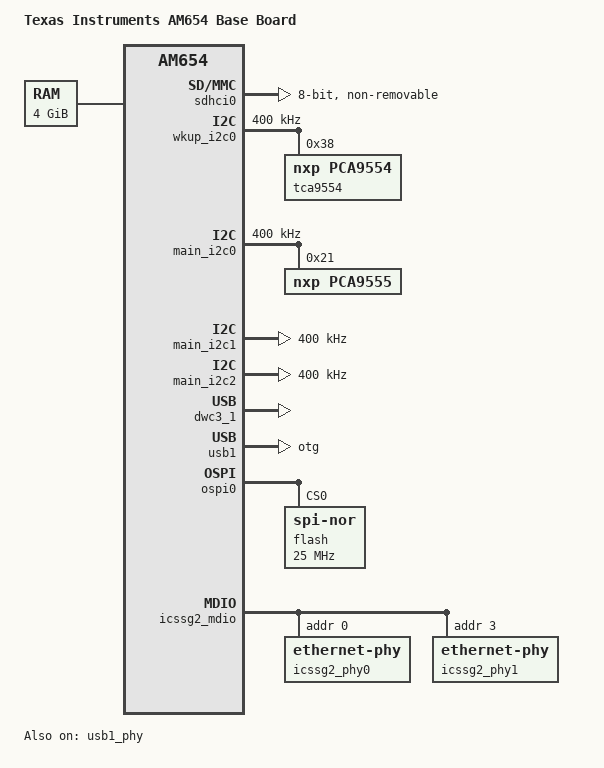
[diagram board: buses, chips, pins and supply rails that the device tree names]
// SPDX-License-Identifier: GPL-2.0
/*
 * Copyright (C) 2016-2018 Texas Instruments Incorporated - http://www.ti.com/
 */

/dts-v1/;

#include "k3-am654.dtsi"
#include <dt-bindings/pinctrl/k3.h>
#include <dt-bindings/net/ti-dp83867.h>

/ {
	compatible =  "ti,am654-evm", "ti,am654";
	model = "Texas Instruments AM654 Base Board";

	chosen {
		stdout-path = "serial2:115200n8";
		bootargs = "earlycon=ns16550a,mmio32,0x02800000";
	};

	aliases {
		remoteproc0 = &mcu_r5fss0_core0;
		remoteproc1 = &mcu_r5fss0_core1;
	};

	memory@80000000 {
		device_type = "memory";
		/* 4G RAM */
		reg = <0x00000000 0x80000000 0x00000000 0x80000000>,
		      <0x00000008 0x80000000 0x00000000 0x80000000>;
	};

	reserved-memory {
		#address-cells = <2>;
		#size-cells = <2>;
		ranges;
		secure_ddr: secure_ddr@9e800000 {
			reg = <0 0x9e800000 0 0x01800000>; /* for OP-TEE */
			alignment = <0x1000>;
			no-map;
		};
	};

	/* Dual Ethernet application node on PRU-ICSSG2 */
	icssg2_eth: icssg2-eth {
		compatible = "ti,am654-icssg-prueth";
		pinctrl-names = "default";
		pinctrl-0 = <&icssg2_rgmii_pins_default>;
		sram = <&msmc_ram>;
		ti,prus = <&pru2_0>, <&rtu2_0>, <&tx_pru2_0>,
			<&pru2_1>, <&rtu2_1>, <&tx_pru2_1>;
		firmware-name = "ti-pruss/am65x-sr2-pru0-prueth-fw.elf",
				"ti-pruss/am65x-sr2-rtu0-prueth-fw.elf",
				"ti-pruss/am65x-sr2-txpru0-prueth-fw.elf",
				"ti-pruss/am65x-sr2-pru1-prueth-fw.elf",
				"ti-pruss/am65x-sr2-rtu1-prueth-fw.elf",
				"ti-pruss/am65x-sr2-txpru1-prueth-fw.elf";

		ti,pruss-gp-mux-sel = <2>,      /* MII mode */
				      <2>,
				      <2>,
				      <2>,	/* MII mode */
				      <2>,
				      <2>;

		mii-g-rt = <&icssg2_mii_g_rt>;
		mii-rt = <&icssg2_mii_rt>;
		iep = <&icssg2_iep0>,  <&icssg2_iep1>;

		interrupt-parent = <&icssg2_intc>;
		interrupts = <24 0 2>, <25 1 3>;
		interrupt-names = "tx_ts0", "tx_ts1";

		dmas = <&main_udmap 0xc300>, /* egress slice 0 */
		       <&main_udmap 0xc301>, /* egress slice 0 */
		       <&main_udmap 0xc302>, /* egress slice 0 */
		       <&main_udmap 0xc303>, /* egress slice 0 */
		       <&main_udmap 0xc304>, /* egress slice 1 */
		       <&main_udmap 0xc305>, /* egress slice 1 */
		       <&main_udmap 0xc306>, /* egress slice 1 */
		       <&main_udmap 0xc307>, /* egress slice 1 */

		       <&main_udmap 0x4300>, /* ingress slice 0 */
		       <&main_udmap 0x4301>, /* ingress slice 1 */
		       <&main_udmap 0x4302>, /* mgmnt rsp slice 0 */
		       <&main_udmap 0x4303>; /* mgmnt rsp slice 1 */
		dma-names = "tx0-0", "tx0-1", "tx0-2", "tx0-3",
			    "tx1-0", "tx1-1", "tx1-2", "tx1-3",
			    "rx0", "rx1",
			    "rxmgm0", "rxmgm1";

		icssg2_emac0: ethernet-mii0 {
			phy-handle = <&icssg2_phy0>;
			phy-mode = "rgmii-rxid";
			syscon-rgmii-delay = <&scm_conf 0x4120>;
			/* Filled in by bootloader */
			local-mac-address = [00 00 00 00 00 00];
		};

		icssg2_emac1: ethernet-mii1 {
			phy-handle = <&icssg2_phy1>;
			phy-mode = "rgmii-rxid";
			syscon-rgmii-delay = <&scm_conf 0x4124>;
			/* Filled in by bootloader */
			local-mac-address = [00 00 00 00 00 00];
		};
	};
};

&main_pmx0 {
	main_mmc0_pins_default: main_mmc0_pins_default {
		pinctrl-single,pins = <
			AM65X_IOPAD(0x01a8, PIN_INPUT_PULLDOWN, 0)	/* (B25) MMC0_CLK */
			AM65X_IOPAD(0x01aC, PIN_INPUT_PULLUP, 0)	/* (B27) MMC0_CMD */
			AM65X_IOPAD(0x01a4, PIN_INPUT_PULLUP, 0)	/* (A26) MMC0_DAT0 */
			AM65X_IOPAD(0x01a0, PIN_INPUT_PULLUP, 0)	/* (E25) MMC0_DAT1 */
			AM65X_IOPAD(0x019c, PIN_INPUT_PULLUP, 0)	/* (C26) MMC0_DAT2 */
			AM65X_IOPAD(0x0198, PIN_INPUT_PULLUP, 0)	/* (A25) MMC0_DAT3 */
			AM65X_IOPAD(0x0194, PIN_INPUT_PULLUP, 0)	/* (E24) MMC0_DAT4 */
			AM65X_IOPAD(0x0190, PIN_INPUT_PULLUP, 0)	/* (A24) MMC0_DAT5 */
			AM65X_IOPAD(0x018c, PIN_INPUT_PULLUP, 0)	/* (B26) MMC0_DAT6 */
			AM65X_IOPAD(0x0188, PIN_INPUT_PULLUP, 0)	/* (D25) MMC0_DAT7 */
			AM65X_IOPAD(0x01b4, PIN_INPUT_PULLUP, 0)	/* (A23) MMC0_SDCD */
			AM65X_IOPAD(0x01b0, PIN_INPUT, 0)		/* (C25) MMC0_DS */
		>;
	};

	main_mmc1_pins_default: main_mmc1_pins_default {
		pinctrl-single,pins = <
			AM65X_IOPAD(0x02d4, PIN_INPUT_PULLDOWN, 0)	/* (C27) MMC1_CLK */
			AM65X_IOPAD(0x02d8, PIN_INPUT_PULLUP, 0)	/* (C28) MMC1_CMD */
			AM65X_IOPAD(0x02d0, PIN_INPUT_PULLUP, 0)	/* (D28) MMC1_DAT0 */
			AM65X_IOPAD(0x02cc, PIN_INPUT_PULLUP, 0)	/* (E27) MMC1_DAT1 */
			AM65X_IOPAD(0x02c8, PIN_INPUT_PULLUP, 0)	/* (D26) MMC1_DAT2 */
			AM65X_IOPAD(0x02c4, PIN_INPUT_PULLUP, 0)	/* (D27) MMC1_DAT3 */
			AM65X_IOPAD(0x02dc, PIN_INPUT_PULLUP, 0)	/* (B24) MMC1_SDCD */
			AM65X_IOPAD(0x02e0, PIN_INPUT, 0)		/* (C24) MMC1_SDWP */
		>;
	};

	usb1_pins_default: usb1_pins_default {
		pinctrl-single,pins = <
			AM65X_IOPAD(0x02c0, PIN_OUTPUT, 0) /* (AC8) USB1_DRVVBUS */
		>;
	};

	main_i2c2_pins_default: main-i2c2-pins-default {
		pinctrl-single,pins = <
			AM65X_IOPAD(0x0074, PIN_INPUT, 5) /* (T27) GPMC0_CSn3.I2C2_SCL */
			AM65X_IOPAD(0x0070, PIN_INPUT, 5) /* (R25) GPMC0_CSn2.I2C2_SDA */
		>;
	};

	icssg2_mdio_pins_default: icssg2-mdio-pins-default {
		pinctrl-single,pins = <
			AM65X_IOPAD(0x0094, PIN_INPUT, 2) /* (AC19) PRG2_PRU0_GPO7.PRG2_MDIO0_MDIO */
			AM65X_IOPAD(0x00c8, PIN_OUTPUT, 2) /* (AE15) PRG2_PRU1_GPO7.PRG2_MDIO0_MDC */
		>;
	};

	icssg2_rgmii_pins_default: icssg2-rgmii-pins-default {
		pinctrl-single,pins = <
			AM65X_IOPAD(0x00ac, PIN_INPUT, 2) /* (AH15) PRG2_PRU1_GPO0.PRG2_RGMII2_RD0 */
			AM65X_IOPAD(0x00b0, PIN_INPUT, 2) /* (AC16) PRG2_PRU1_GPO1.PRG2_RGMII2_RD1 */
			AM65X_IOPAD(0x00b4, PIN_INPUT, 2) /* (AD17) PRG2_PRU1_GPO2.PRG2_RGMII2_RD2 */
			AM65X_IOPAD(0x00b8, PIN_INPUT, 2) /* (AH14) PRG2_PRU1_GPO3.PRG2_RGMII2_RD3 */
			AM65X_IOPAD(0x00cc, PIN_OUTPUT, 2) /* (AD15) PRG2_PRU1_GPO8.PRG2_RGMII2_TD0 */
			AM65X_IOPAD(0x00d0, PIN_OUTPUT, 2) /* (AF14) PRG2_PRU1_GPO9.PRG2_RGMII2_TD1 */
			AM65X_IOPAD(0x00d4, PIN_OUTPUT, 2) /* (AC15) PRG2_PRU1_GPO10.PRG2_RGMII2_TD2 */
			AM65X_IOPAD(0x00d8, PIN_OUTPUT, 2) /* (AD14) PRG2_PRU1_GPO11.PRG2_RGMII2_TD3 */
			AM65X_IOPAD(0x00dc, PIN_INPUT, 2) /* (AE14) PRG2_PRU1_GPO16.PRG2_RGMII2_TXC */
			AM65X_IOPAD(0x00c4, PIN_OUTPUT, 2) /* (AC17) PRG2_PRU1_GPO6.PRG2_RGMII2_TX_CTL */
			AM65X_IOPAD(0x00c0, PIN_INPUT, 2) /* (AG15) PRG2_PRU1_GPO5.PRG2_RGMII2_RXC */
			AM65X_IOPAD(0x00bc, PIN_INPUT, 2) /* (AG14) PRG2_PRU1_GPO4.PRG2_RGMII2_RX_CTL */

			AM65X_IOPAD(0x0078, PIN_INPUT, 2) /* (AF18) PRG2_PRU0_GPO0.PRG2_RGMII1_RD0 */
			AM65X_IOPAD(0x007c, PIN_INPUT, 2) /* (AE18) PRG2_PRU0_GPO1.PRG2_RGMII1_RD1 */
			AM65X_IOPAD(0x0080, PIN_INPUT, 2) /* (AH17) PRG2_PRU0_GPO2.PRG2_RGMII1_RD2 */
			AM65X_IOPAD(0x0084, PIN_INPUT, 2) /* (AG18) PRG2_PRU0_GPO3.PRG2_RGMII1_RD3 */
			AM65X_IOPAD(0x0098, PIN_OUTPUT, 2) /* (AH16) PRG2_PRU0_GPO8.PRG2_RGMII1_TD0 */
			AM65X_IOPAD(0x009c, PIN_OUTPUT, 2) /* (AG16) PRG2_PRU0_GPO9.PRG2_RGMII1_TD1 */
			AM65X_IOPAD(0x00a0, PIN_OUTPUT, 2) /* (AF16) PRG2_PRU0_GPO10.PRG2_RGMII1_TD2 */
			AM65X_IOPAD(0x00a4, PIN_OUTPUT, 2) /* (AE16) PRG2_PRU0_GPO11.PRG2_RGMII1_TD3 */
			AM65X_IOPAD(0x00a8, PIN_INPUT, 2) /* (AD16) PRG2_PRU0_GPO16.PRG2_RGMII1_TXC */
			AM65X_IOPAD(0x0090, PIN_OUTPUT, 2) /* (AE17) PRG2_PRU0_GPO6.PRG2_RGMII1_TX_CTL */
			AM65X_IOPAD(0x008c, PIN_INPUT, 2) /* (AF17) PRG2_PRU0_GPO5.PRG2_RGMII1_RXC */
			AM65X_IOPAD(0x0088, PIN_INPUT, 2) /* (AG17) PRG2_PRU0_GPO4.PRG2_RGMII1_RX_CTL */
		>;
	};
};

&main_pmx1 {
	main_i2c0_pins_default: main-i2c0-pins-default {
		pinctrl-single,pins = <
			AM65X_IOPAD(0x0000, PIN_INPUT, 0) /* (D20) I2C0_SCL */
			AM65X_IOPAD(0x0004, PIN_INPUT, 0) /* (C21) I2C0_SDA */
		>;
	};

	main_i2c1_pins_default: main-i2c1-pins-default {
		pinctrl-single,pins = <
			AM65X_IOPAD(0x0008, PIN_INPUT, 0) /* (B21) I2C1_SCL */
			AM65X_IOPAD(0x000c, PIN_INPUT, 0) /* (E21) I2C1_SDA */
		>;
	};
};

&wkup_pmx0 {
	wkup_i2c0_pins_default: wkup-i2c0-pins-default {
		pinctrl-single,pins = <
			AM65X_WKUP_IOPAD(0x00e0, PIN_INPUT, 0) /* (AC7) WKUP_I2C0_SCL */
			AM65X_WKUP_IOPAD(0x00e4, PIN_INPUT, 0) /* (AD6) WKUP_I2C0_SDA */
		>;
	};

	mcu_fss0_ospi0_pins_default: mcu-fss0-ospi0-pins_default {
		pinctrl-single,pins = <
			AM65X_WKUP_IOPAD(0x0000, PIN_OUTPUT, 0) /* (V1) MCU_OSPI0_CLK */
			AM65X_WKUP_IOPAD(0x0008, PIN_INPUT, 0)	 /* (U2) MCU_OSPI0_DQS */
			AM65X_WKUP_IOPAD(0x000c, PIN_INPUT, 0)  /* (U4) MCU_OSPI0_D0 */
			AM65X_WKUP_IOPAD(0x0010, PIN_INPUT, 0)  /* (U5) MCU_OSPI0_D1 */
			AM65X_WKUP_IOPAD(0x0014, PIN_INPUT, 0)  /* (T2) MCU_OSPI0_D2 */
			AM65X_WKUP_IOPAD(0x0018, PIN_INPUT, 0)  /* (T3) MCU_OSPI0_D3 */
			AM65X_WKUP_IOPAD(0x001c, PIN_INPUT, 0)  /* (T4) MCU_OSPI0_D4 */
			AM65X_WKUP_IOPAD(0x0020, PIN_INPUT, 0)  /* (T5) MCU_OSPI0_D5 */
			AM65X_WKUP_IOPAD(0x0024, PIN_INPUT, 0)  /* (R2) MCU_OSPI0_D6 */
			AM65X_WKUP_IOPAD(0x0028, PIN_INPUT, 0)  /* (R3) MCU_OSPI0_D7 */
			AM65X_WKUP_IOPAD(0x002c, PIN_OUTPUT, 0) /* (R4) MCU_OSPI0_CSn0 */
		>;
	};
};

&sdhci0 {
	pinctrl-names = "default";
	pinctrl-0 = <&main_mmc0_pins_default>;
	bus-width = <8>;
	non-removable;
	ti,driver-strength-ohm = <50>;
};

/*
 * Because of erratas i2025 and i2026 for silicon revision 1.0, the
 * SD card interface might fail. Boards with sr1.0 are recommended to
 * disable sdhci1
 */
&sdhci1 {
	pinctrl-names = "default";
	pinctrl-0 = <&main_mmc1_pins_default>;
	ti,driver-strength-ohm = <50>;
	sdhci-caps-mask = <0x7 0x0>;
	disable-wp;
};

&wkup_i2c0 {
	pinctrl-names = "default";
	pinctrl-0 = <&wkup_i2c0_pins_default>;
	clock-frequency = <400000>;

	tca9554: gpio@38 {
		compatible = "nxp,pca9554";
		reg = <0x38>;
		gpio-controller;
		#gpio-cells = <2>;
	};
};

&main_i2c0 {
	pinctrl-names = "default";
	pinctrl-0 = <&main_i2c0_pins_default>;
	clock-frequency = <400000>;

	pca9555: gpio@21 {
		compatible = "nxp,pca9555";
		reg = <0x21>;
		gpio-controller;
		#gpio-cells = <2>;
	};
};

&main_i2c1 {
	pinctrl-names = "default";
	pinctrl-0 = <&main_i2c1_pins_default>;
	clock-frequency = <400000>;
};

&main_i2c2 {
	pinctrl-names = "default";
	pinctrl-0 = <&main_i2c2_pins_default>;
	clock-frequency = <400000>;
};

&dwc3_1 {
	status = "okay";
};

&usb1_phy {
	status = "okay";
};

&usb1 {
	pinctrl-names = "default";
	pinctrl-0 = <&usb1_pins_default>;
	dr_mode = "otg";
};

&dwc3_0 {
	status = "disabled";
};

&usb0_phy {
	status = "disabled";
};

&ospi0 {
	pinctrl-names = "default";
	pinctrl-0 = <&mcu_fss0_ospi0_pins_default>;

	flash@0{
		compatible = "jedec,spi-nor";
		reg = <0x0>;
		spi-tx-bus-width = <8>;
		spi-rx-bus-width = <8>;
		spi-max-frequency = <25000000>;
		cdns,tshsl-ns = <60>;
		cdns,tsd2d-ns = <60>;
		cdns,tchsh-ns = <60>;
		cdns,tslch-ns = <60>;
		cdns,read-delay = <0>;
		cdns,phy-mode;
		#address-cells = <1>;
		#size-cells = <1>;
	};
};

&icssg2_mdio {
	status = "okay";
	pinctrl-names = "default";
	pinctrl-0 = <&icssg2_mdio_pins_default>;

	icssg2_phy0: ethernet-phy@0 {
		reg = <0>;
		ti,rx-internal-delay = <DP83867_RGMIIDCTL_2_00_NS>;
		ti,fifo-depth = <DP83867_PHYCR_FIFO_DEPTH_4_B_NIB>;
	};

	icssg2_phy1: ethernet-phy@3 {
		reg = <3>;
		ti,rx-internal-delay = <DP83867_RGMIIDCTL_2_00_NS>;
		ti,fifo-depth = <DP83867_PHYCR_FIFO_DEPTH_4_B_NIB>;
	};
};
